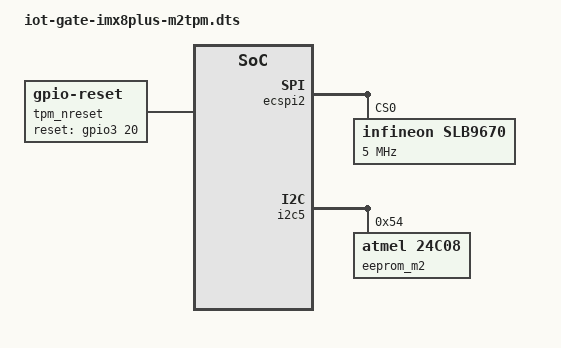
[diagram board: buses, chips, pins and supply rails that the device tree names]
// SPDX-License-Identifier: (GPL-2.0+ OR MIT)
/*
 * Copyright 2022 CompuLab Ltd
 */

#include "iot-gate-imx8plus.dts"

/* IOT-GATE-IMX8PLUS with TPM extension module in M.2 Expansion Connector */

/ {
	tpm_nreset: tpm-nreset {
		compatible = "gpio-reset";
		pinctrl-names = "default";
		pinctrl-0 = <&pinctrl_tpm_nrst>;
		reset-gpios = <&gpio3 20 GPIO_ACTIVE_HIGH>;
		#reset-cells = <0>;
		initially-in-reset;
	};
};

&ecspi2 {
	status = "okay";

	/delete-node/ spidev2@0;

	slb9670: slb9670-ecspi2@0 {
		resets = <&tpm_nreset>;
		compatible = "infineon,slb9670", "tcg,tpm_tis-spi";
		reg = <0>;
		spi-max-frequency = <5000000>;
		status = "okay";
	};
};

&i2c5 {
	status = "okay";

	eeprom_m2: eeprom-i2c5@54 {
		compatible = "atmel,24c08";
		pagesize = <16>;
		reg = <0x54>;
		status = "okay";
	};
};

&i2c6 {
	status = "disabled";
};

&usdhc2 {
	status = "disabled";
};

&iomuxc {
	pinctrl_tpm_nrst: tpmnrstgrp {
		fsl,pins = <
			MX8MP_IOMUXC_SAI5_RXC__GPIO3_IO20			0x110
		>;
	};
};

